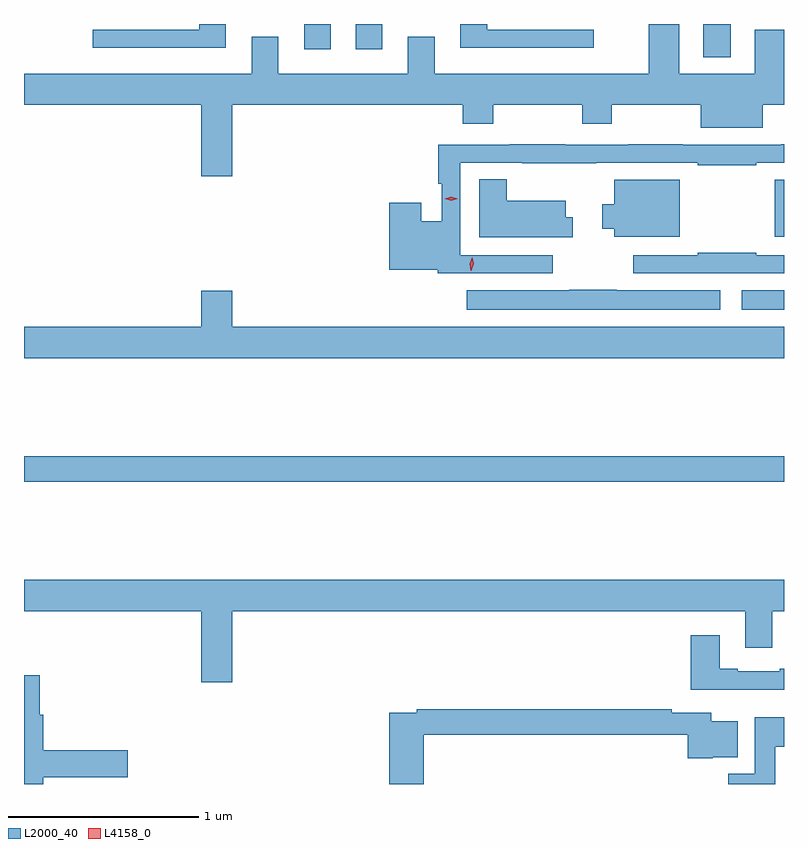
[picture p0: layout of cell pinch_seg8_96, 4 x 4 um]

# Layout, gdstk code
import gdstk
lib = gdstk.Library(unit=1e-6, precision=1e-09)
def R(c, l, rs):  # rectangles x0, y0, x1, y1
    for r in rs: c.add(gdstk.rectangle(r[:2], r[2:], *l))
def P(c, l, *ps):  # polygons
    for p in ps: c.add(gdstk.Polygon(p, *l))
L2000_40 = (2000, 40)
L4158_0 = (4158, 0)

pinch_seg8_96 = lib.new_cell('pinch_seg8_96')
R(pinch_seg8_96, L2000_40, [(1063.176,1111.852,1067.176,1111.988), (1066.953,1112.759,1067.176,1112.86), (1067.126,1113.143,1067.176,1113.442), (1066.751,1114.086,1066.897,1114.262), (1064.651,1114.128,1064.791,1114.262), (1064.921,1114.128,1065.061,1114.262)])
P(pinch_seg8_96, L2000_40, [(1066.174,1114.233),(1065.613,1114.233),(1065.613,1114.262),(1065.473,1114.262),(1065.473,1114.136),(1066.174,1114.136)],
  [(1064.239,1114.262),(1064.099,1114.262),(1064.099,1114.233),(1063.539,1114.233),(1063.539,1114.136),(1064.239,1114.136)],
  [(1063.176,1113.836),(1064.108,1113.836),(1064.108,1113.462),(1064.272,1113.462),(1064.272,1113.836),(1065.485,1113.836),(1065.485,1113.737),(1065.645,1113.737),(1065.645,1113.836),(1066.114,1113.836),(1066.114,1113.737),(1066.269,1113.737),(1066.269,1113.836),(1066.739,1113.836),(1066.739,1113.716),(1067.065,1113.716),(1067.065,1113.836),(1067.176,1113.836),(1067.176,1114.231),(1067.021,1114.231),(1067.021,1114),(1066.624,1114),(1066.624,1114.262),(1066.463,1114.262),(1066.463,1114),(1065.337,1114),(1065.337,1114.195),(1065.197,1114.195),(1065.197,1114),(1064.515,1114),(1064.515,1114.195),(1064.375,1114.195),(1064.375,1114),(1063.176,1114)],
  [(1065.958,1113.045),(1065.471,1113.045),(1065.471,1113.531),(1065.799,1113.531),(1065.799,1113.53),(1066.187,1113.53),(1066.187,1113.531),(1066.723,1113.531),(1066.723,1113.519),(1067.03,1113.519),(1067.03,1113.531),(1067.176,1113.531),(1067.176,1113.629),(1067.161,1113.629),(1067.161,1113.627),(1066.643,1113.627),(1066.643,1113.629),(1066.357,1113.629),(1066.357,1113.627),(1066.025,1113.627),(1066.025,1113.629),(1065.733,1113.629),(1065.733,1113.627),(1065.355,1113.627),(1065.355,1113.422),(1065.375,1113.422),(1065.375,1113.223),(1065.268,1113.223),(1065.268,1113.322),(1065.098,1113.322),(1065.098,1112.969),(1065.354,1112.969),(1065.354,1112.949),(1065.958,1112.949)],
  [(1066.063,1113.244),(1066.027,1113.244),(1066.027,1113.331),(1065.716,1113.331),(1065.716,1113.446),(1065.572,1113.446),(1065.572,1113.14),(1066.063,1113.14)],
  [(1066.627,1113.442),(1066.283,1113.442),(1066.283,1113.313),(1066.22,1113.313),(1066.22,1113.184),(1066.283,1113.184),(1066.283,1113.143),(1066.627,1113.143)],
  [(1067.176,1113.045),(1067.03,1113.045),(1067.03,1113.058),(1066.723,1113.058),(1066.723,1113.045),(1066.383,1113.045),(1066.383,1112.949),(1067.176,1112.949)],
  [(1066.84,1112.86),(1066.295,1112.86),(1066.295,1112.863),(1066.045,1112.863),(1066.045,1112.86),(1065.507,1112.86),(1065.507,1112.759),(1066.84,1112.759)],
  [(1067.176,1112.668),(1064.272,1112.668),(1064.272,1112.857),(1064.108,1112.857),(1064.108,1112.668),(1063.176,1112.668),(1063.176,1112.504),(1067.176,1112.504)],
  [(1063.176,1111.172),(1064.108,1111.172),(1064.108,1110.798),(1064.272,1110.798),(1064.272,1111.172),(1066.973,1111.172),(1066.973,1110.978),(1067.113,1110.978),(1067.113,1111.172),(1067.176,1111.172),(1067.176,1111.336),(1063.176,1111.336)],
  [(1067.176,1110.868),(1067.153,1110.868),(1067.153,1110.855),(1066.933,1110.855),(1066.933,1110.868),(1066.837,1110.868),(1066.837,1111.045),(1066.685,1111.045),(1066.685,1110.758),(1067.176,1110.758)],
  [(1063.277,1110.298),(1063.723,1110.298),(1063.723,1110.44),(1063.277,1110.44),(1063.277,1110.627),(1063.258,1110.627),(1063.258,1110.835),(1063.176,1110.835),(1063.176,1110.262),(1063.277,1110.262)],
  [(1065.281,1110.52),(1066.67,1110.52),(1066.67,1110.398),(1066.8,1110.398),(1066.8,1110.404),(1066.933,1110.404),(1066.933,1110.592),(1066.792,1110.592),(1066.792,1110.636),(1066.586,1110.636),(1066.586,1110.656),(1065.244,1110.656),(1065.244,1110.636),(1065.098,1110.636),(1065.098,1110.262),(1065.281,1110.262)],
  [(1067.131,1110.457),(1067.176,1110.457),(1067.176,1110.613),(1067.021,1110.613),(1067.021,1110.316),(1066.882,1110.316),(1066.882,1110.262),(1067.131,1110.262)])
P(pinch_seg8_96, L4158_0, [(1065.528,1112.964),(1065.522,1113),(1065.534,1113.035),(1065.534,1113.035),(1065.535,1113.035),(1065.542,1112.999),(1065.529,1112.964),(1065.529,1112.964)],
  [(1065.425,1113.332),(1065.39,1113.342),(1065.39,1113.342),(1065.39,1113.342),(1065.425,1113.352),(1065.46,1113.342),(1065.46,1113.342),(1065.46,1113.342)])

lib.write_gds('pinch_seg8_96.gds')
